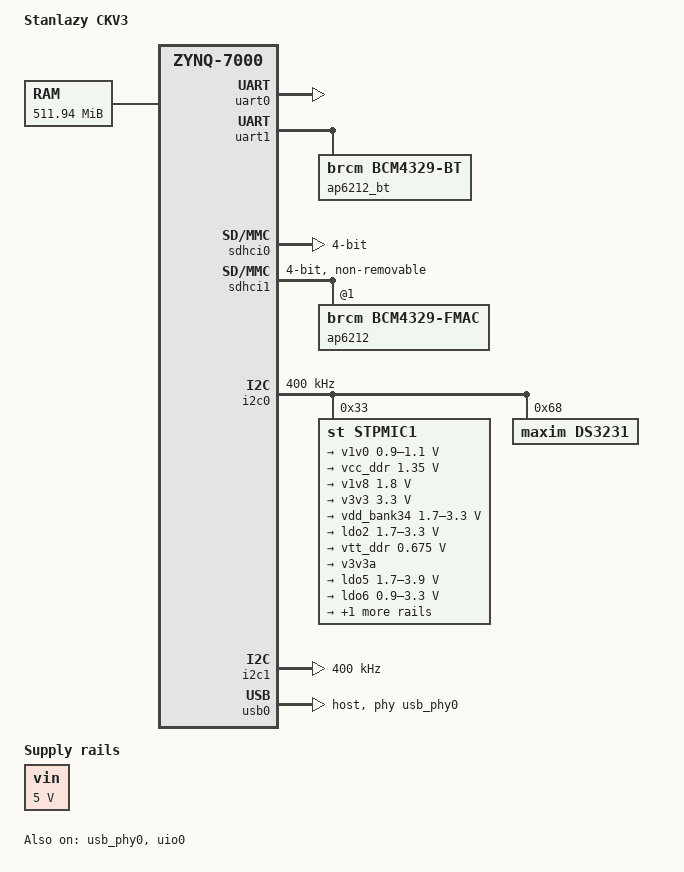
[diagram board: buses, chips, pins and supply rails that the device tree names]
/dts-v1/;
#include "zynq-7000.dtsi"
#include <dt-bindings/gpio/gpio.h>
#include <dt-bindings/interrupt-controller/irq.h>
#include <dt-bindings/interrupt-controller/arm-gic.h>
#include <dt-bindings/mfd/st,stpmic1.h>

/ {
	model = "Stanlazy CKV3";
	compatible = "stanlazy,zynq-stanlazy-ckv3", "xlnx,zynq-7000";
	
	aliases {
		serial0 = &uart0;
		serial1 = &uart1;
		mmc0 = &sdhci0;
		mmc1 = &sdhci1;
		i2c0 = &i2c0;
		i2c1 = &i2c1;
		usb0 = &usb0;
		wlan0 = &ap6212;
		bt0 = &ap6212_bt;
		pmic0 = &stpmic1;
		rtc0 = &ds3231;
	};
	
	chosen {
		bootargs = "console=tty1 console=ttyPS0,115200n8 fbcon=font:6x8 root=/dev/mmcblk0p2 rw rootwait panic=10 uio_pdrv_genirq.of_id=generic-uio";
		stdout-path = "serial0:115200n8";
		#address-cells = <1>;
		#size-cells = <1>;
		ranges;
		framebuffer0: framebuffer@1fff0000 {
			status= "okay";
			compatible = "simple-framebuffer";
			reg = <0x1fff0000 (256 * 50 * 2)>;
			width = <256>;
			height = <50>;
			stride = <(256 * 2)>;
			format = "r5g6b5";
		};
	};
	
	memory@0 {
		device_type = "memory";
		reg = <0x0 0x1fff0000>;
	};
	
	usb_phy0: phy0@e0002000 {
		compatible = "smsc,usb3300", "ulpi-phy";
		status = "okay";
		#phy-cells = <0>;
		reg = <0xe0002000 0x1000>;
		view-port = <0x0170>;
	};
	
	vin: vin {
		compatible = "regulator-fixed";
		regulator-name = "vin";
		regulator-min-microvolt = <5000000>;
		regulator-max-microvolt = <5000000>;
		regulator-always-on;
	};
	
	uio0: uio0@40000000 {
		reg = <0x40000000 0x40000000>;
		compatible = "generic-uio";
		status = "okay";
		interrupt-parent = <&intc>;
		interrupts = <GIC_SPI 30 IRQ_TYPE_EDGE_RISING>; /* IRQ_F2P [1] */
	};
	
//	gpio-leds {
//		compatible = "gpio-leds";
//		status {
//			label = "som:pink:status";
//			gpios = <&gpio0 57 GPIO_ACTIVE_HIGH>; /* MIO 3 */
//			linux,default-trigger = "heartbeat";
//		};
//	};
};

&clkc {
	ps-clk-frequency = <33333333>;
};

&uart0 {
	status = "okay";
};

&uart1 {
	status = "okay";
	
	ap6212_bt: bluetooth {
		status = "okay";
		compatible = "brcm,bcm4329-bt";
		max-speed = <4000000>;
	};
};

&sdhci0 {
	status = "okay";
	broken-cd;
	no-1-8-v;
	bus-width = <4>;
	max-frequency = <50000000>;
};

&sdhci1 {
	status = "okay";
	non-removable;
	broken-cd;
	no-1-8-v;
	bus-width = <4>;
	max-frequency = <50000000>;
	
	#address-cells = <1>;
	#size-cells = <0>;
	
	ap6212: wifi@1 {
		compatible = "brcm,bcm4329-fmac";
		status = "okay";
		reg = <1>;
	};
};

&i2c0 {
	status = "okay";
	clock-frequency = <400000>;
	#address-cells = <1>;
	#size-cells = <0>;
	
	stpmic1: pmic@33 {
		compatible = "st,stpmic1";
		status = "okay";
		reg = <0x33>;
		interrupt-parent = <&intc>;
		interrupts = <GIC_SPI 29 IRQ_TYPE_LEVEL_HIGH>; /* IRQ_F2P [0], inverted , level*/
		
		interrupt-controller;
		#interrupt-cells = <2>;
		
		onkey {
			compatible = "st,stpmic1-onkey";
			status = "okay";
			interrupts = <IT_PONKEY_F 0>, <IT_PONKEY_R 1>;
			interrupt-names = "onkey-falling", "onkey-rising";
			power-off-time-sec = <3>;
			st,onkey-clear-cc-flag;
		};
		
		watchdog {
			compatible = "st,stpmic1-wdt";
			status = "disabled";
		};
		
		regulators {
			compatible = "st,stpmic1-regulators";
			buck1-supply = <&vin>;
			buck2-supply = <&vin>;
			buck3-supply = <&vin>;
			buck4-supply = <&vin>;
			ldo1-supply = <&vin>;
			ldo2-supply = <&vin>;
			ldo3-supply = <&vcc_ddr>;
			ldo4-supply = <&vin>;
			ldo5-supply = <&vin>;
			ldo6-supply = <&vin>;
			vref_ddr-supply = <&vcc_ddr>;
			
			v1v0: buck1 {
				regulator-name = "v1v0";
				regulator-min-microvolt = <900000>;
				regulator-max-microvolt = <1100000>;
				regulator-initial-mode = <STPMIC1_BUCK_MODE_NORMAL>;
				interrupts = <IT_CURLIM_BUCK1 0>;
				regulator-always-on;
			};
			
			vcc_ddr: buck2 {
				regulator-name = "vcc_ddr";
				regulator-min-microvolt = <1350000>;
				regulator-max-microvolt = <1350000>;
				regulator-initial-mode = <STPMIC1_BUCK_MODE_NORMAL>;
				interrupts = <IT_CURLIM_BUCK2 0>;
				regulator-always-on;
			};
			
			v1v8: buck3 {
				regulator-name = "v1v8";
				regulator-min-microvolt = <1800000>;
				regulator-max-microvolt = <1800000>;
				regulator-initial-mode = <STPMIC1_BUCK_MODE_NORMAL>;
				interrupts = <IT_CURLIM_BUCK3 0>;
				regulator-always-on;
			};
			
			v3v3: buck4 {
				regulator-name = "v3v3";
				regulator-min-microvolt = <3300000>;
				regulator-max-microvolt = <3300000>;
				regulator-initial-mode = <STPMIC1_BUCK_MODE_NORMAL>;
				interrupts = <IT_CURLIM_BUCK4 0>;
				regulator-always-on;
			};
			
			vdd_bank34: ldo1 {
				regulator-name = "vdd_bank34";
				regulator-min-microvolt = <1700000>;
				regulator-max-microvolt = <3300000>;
				interrupts = <IT_CURLIM_LDO1 0>;
				regulator-always-on;
			};
			
			ldo2: ldo2 {
				regulator-name = "ldo2";
				regulator-min-microvolt = <1700000>;
				regulator-max-microvolt = <3300000>;
				interrupts = <IT_CURLIM_LDO2 0>;
			};
			
			vtt_ddr: ldo3 {
				regulator-name = "vtt_ddr";
				regulator-min-microvolt = <675000>;
				regulator-max-microvolt = <675000>;
				interrupts = <IT_CURLIM_LDO3 0>;
				regulator-always-on;
			};
			
			v3v3a: ldo4 {
				regulator-name = "v3v3a";
				interrupts = <IT_CURLIM_LDO4 0>;
				regulator-always-on;
			};
			
			ldo5: ldo5 {
				regulator-name = "ldo5";
				regulator-min-microvolt = <1700000>;
				regulator-max-microvolt = <3900000>;
				interrupts = <IT_CURLIM_LDO5 0>;
			};
			
			ldo6: ldo6 {
				regulator-name = "ldo6";
				regulator-min-microvolt = <900000>;
				regulator-max-microvolt = <3300000>;
				interrupts = <IT_CURLIM_LDO6 0>;
			};
			
			vref_ddr: vref_ddr {
				regulator-name = "vref_ddr";
				regulator-always-on;
			};
		};
	};
	
	ds3231: rtc@68 {
		compatible = "maxim,ds3231", "dallas,ds3231", "maxim,ds3232", "dallas,ds3232";
		status = "okay";
		reg = <0x68>;
		#clock-cells = <1>;
	};
};

&i2c1 {
        status = "okay";
        clock-frequency = <400000>;
        #address-cells = <1>;
        #size-cells = <0>;
};

&usb0 {
	status = "okay";
	phy_type = "ulpi";
	dr_mode = "host";
	usb-phy = <&usb_phy0>;
};
